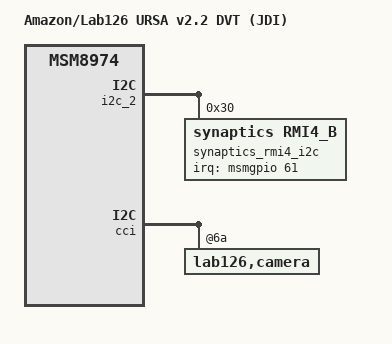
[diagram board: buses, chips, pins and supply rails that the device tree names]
/* Copyright (c) 2013, The Linux Foundation. All rights reserved.
 *
 * This program is free software; you can redistribute it and/or modify
 * it under the terms of the GNU General Public License version 2 and
 * only version 2 as published by the Free Software Foundation.
 *
 * This program is distributed in the hope that it will be useful,
 * but WITHOUT ANY WARRANTY; without even the implied warranty of
 * MERCHANTABILITY or FITNESS FOR A PARTICULAR PURPOSE.  See the
 * GNU General Public License for more details.
 */

/dts-v1/;

/include/ "msm8974-v2.2.dtsi"
/include/ "ursa.dtsi"

/ {
	model = "Amazon/Lab126 URSA v2.2 DVT (JDI)";
	compatible = "lab126,ursa", "qcom,msm8974";
	qcom,msm-id = <126 9155 0x20002>;
};

/* TOUCH - JDI */

&i2c_2 {
	synaptics_rmi4_i2c@30 {
	compatible = "synaptics,rmi4_b";
	reg = <0x30>;
	//Note: These IRQ flags are overridden by the driver code
	interrupt-parent = <&msmgpio>;
	interrupts = <61 0x2>;
	synaptics,irq-gpio = <&msmgpio 61 0x00>;
	synaptics,disable-regulator-code = <1>;
	};
};

&cci    {
        lab126,camera@6a {
                qcom,cci-master=<1>;
        };
};
